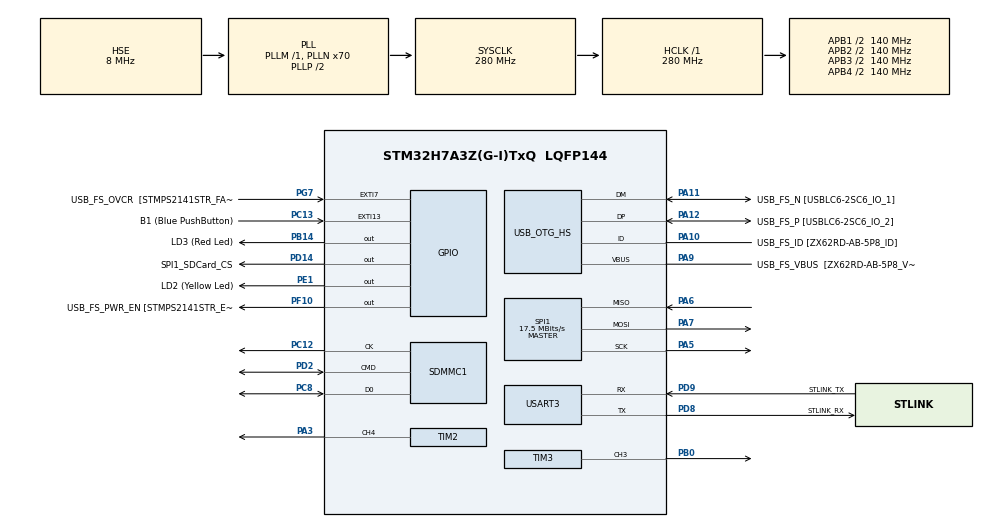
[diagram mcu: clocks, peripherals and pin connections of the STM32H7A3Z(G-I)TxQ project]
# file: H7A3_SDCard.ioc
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Dma.DMA_GENERATOR0.0.Direction=DMA_PERIPH_TO_MEMORY
Dma.DMA_GENERATOR0.0.EventEnable=DISABLE
Dma.DMA_GENERATOR0.0.FIFOMode=DMA_FIFOMODE_ENABLE
Dma.DMA_GENERATOR0.0.FIFOThreshold=DMA_FIFO_THRESHOLD_FULL
Dma.DMA_GENERATOR0.0.Instance=DMA1_Stream0
Dma.DMA_GENERATOR0.0.MemBurst=DMA_MBURST_SINGLE
Dma.DMA_GENERATOR0.0.MemDataAlignment=DMA_MDATAALIGN_BYTE
Dma.DMA_GENERATOR0.0.MemInc=DMA_MINC_ENABLE
Dma.DMA_GENERATOR0.0.Mode=DMA_NORMAL
Dma.DMA_GENERATOR0.0.PeriphBurst=DMA_PBURST_SINGLE
Dma.DMA_GENERATOR0.0.PeriphDataAlignment=DMA_PDATAALIGN_BYTE
Dma.DMA_GENERATOR0.0.PeriphInc=DMA_PINC_ENABLE
Dma.DMA_GENERATOR0.0.Polarity=HAL_DMAMUX_REQ_GEN_RISING
Dma.DMA_GENERATOR0.0.Priority=DMA_PRIORITY_LOW
Dma.DMA_GENERATOR0.0.RequestNumber=1
Dma.DMA_GENERATOR0.0.SignalID=NONE
Dma.DMA_GENERATOR0.0.SyncEnable=DISABLE
Dma.DMA_GENERATOR0.0.SyncPolarity=HAL_DMAMUX_SYNC_NO_EVENT
Dma.DMA_GENERATOR0.0.SyncRequestNumber=1
Dma.DMA_GENERATOR0.0.SyncSignalID=NONE
Dma.Request0=DMA_GENERATOR0
Dma.Request1=USART3_RX
Dma.Request2=USART3_TX
Dma.USART3_RX.1.Direction=DMA_PERIPH_TO_MEMORY
Dma.USART3_RX.1.EventEnable=DISABLE
Dma.USART3_RX.1.FIFOMode=DMA_FIFOMODE_DISABLE
Dma.USART3_RX.1.Instance=DMA1_Stream1
Dma.USART3_RX.1.MemDataAlignment=DMA_MDATAALIGN_BYTE
Dma.USART3_RX.1.MemInc=DMA_MINC_ENABLE
Dma.USART3_RX.1.Mode=DMA_NORMAL
Dma.USART3_RX.1.PeriphDataAlignment=DMA_PDATAALIGN_BYTE
Dma.USART3_RX.1.PeriphInc=DMA_PINC_DISABLE
Dma.USART3_RX.1.Polarity=HAL_DMAMUX_REQ_GEN_RISING
Dma.USART3_RX.1.Priority=DMA_PRIORITY_LOW
Dma.USART3_RX.1.RequestNumber=1
Dma.USART3_RX.1.SignalID=NONE
Dma.USART3_RX.1.SyncEnable=DISABLE
Dma.USART3_RX.1.SyncPolarity=HAL_DMAMUX_SYNC_NO_EVENT
Dma.USART3_RX.1.SyncRequestNumber=1
Dma.USART3_RX.1.SyncSignalID=NONE
Dma.USART3_TX.2.Direction=DMA_MEMORY_TO_PERIPH
Dma.USART3_TX.2.EventEnable=DISABLE
Dma.USART3_TX.2.FIFOMode=DMA_FIFOMODE_DISABLE
Dma.USART3_TX.2.Instance=DMA1_Stream2
Dma.USART3_TX.2.MemDataAlignment=DMA_MDATAALIGN_BYTE
Dma.USART3_TX.2.MemInc=DMA_MINC_ENABLE
Dma.USART3_TX.2.Mode=DMA_NORMAL
Dma.USART3_TX.2.PeriphDataAlignment=DMA_PDATAALIGN_BYTE
Dma.USART3_TX.2.PeriphInc=DMA_PINC_DISABLE
Dma.USART3_TX.2.Polarity=HAL_DMAMUX_REQ_GEN_RISING
Dma.USART3_TX.2.Priority=DMA_PRIORITY_LOW
Dma.USART3_TX.2.RequestNumber=1
Dma.USART3_TX.2.SignalID=NONE
Dma.USART3_TX.2.SyncEnable=DISABLE
Dma.USART3_TX.2.SyncPolarity=HAL_DMAMUX_SYNC_NO_EVENT
Dma.USART3_TX.2.SyncRequestNumber=1
Dma.USART3_TX.2.SyncSignalID=NONE
FATFS._MAX_SS=4096
FATFS._USE_LFN=1
Mcu.Family=STM32H7
Mcu.Name=STM32H7A3Z(G-I)TxQ
Mcu.Package=LQFP144
NVIC.DMA1_Stream1_IRQn=true\:0\:0\:false\:false\:true\:false\:true\:true
NVIC.DMA1_Stream2_IRQn=true\:0\:0\:false\:false\:true\:false\:true\:true
NVIC.EXTI15_10_IRQn=true\:0\:0\:false\:false\:true\:true\:true\:true
NVIC.PriorityGroup=NVIC_PRIORITYGROUP_4
PA10.GPIO_Label=USB_FS_ID [ZX62RD-AB-5P8_ID]
PA10.Mode=OTG/Dual-Role-Device-FS
PA10.Signal=USB_OTG_HS_ID
PA11.GPIO_Label=USB_FS_N [USBLC6-2SC6_IO_1]
PA11.Mode=OTG/Dual-Role-Device-FS
PA11.Signal=USB_OTG_HS_DM
PA12.GPIO_Label=USB_FS_P [USBLC6-2SC6_IO_2]
PA12.Mode=OTG/Dual-Role-Device-FS
PA12.Signal=USB_OTG_HS_DP
PA3.GPIO_Speed=GPIO_SPEED_FREQ_VERY_HIGH
PA3.Signal=S_TIM2_CH4
PA5.Mode=Full_Duplex_Master
PA5.Signal=SPI1_SCK
PA6.Mode=Full_Duplex_Master
PA6.Signal=SPI1_MISO
PA7.Mode=Full_Duplex_Master
PA7.Signal=SPI1_MOSI
PA9.GPIO_Label=USB_FS_VBUS  [ZX62RD-AB-5P8_VBUS]
PA9.Mode=Activate_VBUS_FS
PA9.Signal=USB_OTG_HS_VBUS
PB0.Signal=S_TIM3_CH3
PB14.GPIO_Label=LD3 (Red Led)
PB14.Signal=GPIO_Output
PC12.Mode=mmc_1_bit
PC12.Signal=SDMMC1_CK
PC13.GPIO_Label=B1 (Blue PushButton)
PC13.Signal=GPXTI13
PC14-OSC32_IN.GPIO_Label=OSC32_IN
PC14-OSC32_IN.Mode=LSE-External-Oscillator
PC14-OSC32_IN.Signal=RCC_OSC32_IN
PC15-OSC32_OUT.GPIO_Label=OSC32_OUT
PC15-OSC32_OUT.Mode=LSE-External-Oscillator
PC15-OSC32_OUT.Signal=RCC_OSC32_OUT
PC8.Mode=mmc_1_bit
PC8.Signal=SDMMC1_D0
PD14.GPIO_Label=SPI1_SDCard_CS
PD14.PinState=GPIO_PIN_SET
PD14.Signal=GPIO_Output
PD2.Mode=mmc_1_bit
PD2.Signal=SDMMC1_CMD
PD8.GPIO_Label=STLINK_RX
PD8.Mode=Asynchronous
PD8.Signal=USART3_TX
PD9.GPIO_Label=STLINK_TX
PD9.Mode=Asynchronous
PD9.Signal=USART3_RX
PE1.GPIO_Label=LD2 (Yellow Led)
PE1.Signal=GPIO_Output
PF10.GPIO_Label=USB_FS_PWR_EN [STMPS2141STR_EN]
PF10.Signal=GPIO_Output
PG7.GPIO_Label=USB_FS_OVCR  [STMPS2141STR_FAULT]
PG7.Signal=GPXTI7
PH0-OSC_IN.GPIO_Label=PH0-MCU
PH0-OSC_IN.Mode=HSE-External-Oscillator
PH0-OSC_IN.Signal=RCC_OSC_IN
PH1-OSC_OUT.GPIO_Label=PH1-MCU
PH1-OSC_OUT.Mode=HSE-External-Oscillator
PH1-OSC_OUT.Signal=RCC_OSC_OUT
ProjectManager.HeapSize=0x400
ProjectManager.StackSize=0x800
ProjectManager.TargetToolchain=STM32CubeIDE
RCC.ADCFreq_Value=16125000
RCC.APB1Freq_Value=140000000
RCC.APB2Freq_Value=140000000
RCC.APB3Freq_Value=140000000
RCC.APB4Freq_Value=140000000
RCC.CDPPRE=RCC_APB3_DIV2
RCC.CDPPRE1=RCC_APB1_DIV2
RCC.CDPPRE2=RCC_APB2_DIV2
RCC.CortexFreq_Value=280000000
RCC.DIVM1=1
RCC.DIVM3=1
RCC.DIVN1=70
RCC.DIVN3=24
RCC.HCLKFreq_Value=280000000
RCC.HSE_VALUE=8000000
RCC.PLLFRACN=0
RCC.PLLSourceVirtual=RCC_PLLSOURCE_HSE
RCC.PWR_Regulator_Voltage_Scale=PWR_REGULATOR_VOLTAGE_SCALE0
RCC.SRDPPRE=RCC_APB4_DIV2
RCC.SYSCLKFreq_VALUE=280000000
RCC.SYSCLKSource=RCC_SYSCLKSOURCE_PLLCLK
RCC.SupplySource=PWR_DIRECT_SMPS_SUPPLY
RCC.USBCLockSelection=RCC_USBCLKSOURCE_HSI48
RCC.USBFreq_Value=48000000
SH.S_TIM2_CH4.0=TIM2_CH4,PWM Generation4 CH4
SH.S_TIM3_CH3.0=TIM3_CH3,PWM Generation3 CH3
SPI1.BaudRatePrescaler=SPI_BAUDRATEPRESCALER_16
SPI1.CalculateBaudRate=17.5 MBits/s
SPI1.DataSize=SPI_DATASIZE_8BIT
SPI1.Direction=SPI_DIRECTION_2LINES
SPI1.Mode=SPI_MODE_MASTER
SPI1.VirtualType=VM_MASTER
TIM2.Channel-PWM\ Generation4\ CH4=TIM_CHANNEL_4
TIM2.OCFastMode_PWM-PWM\ Generation4\ CH4=TIM_OCFAST_ENABLE
TIM2.Period=4
TIM2.Prescaler=4
TIM2.Pulse-PWM\ Generation4\ CH4=2
TIM3.Channel-PWM\ Generation3\ CH3=TIM_CHANNEL_3
TIM3.Period=9999
TIM3.Prescaler=9999
USART3.VirtualMode-Asynchronous=VM_ASYNC
VP_FATFS_VS_Generic.Mode=User_defined
VP_TIM2_VS_ClockSourceINT.Mode=Internal
VP_TIM3_VS_ClockSourceINT.Mode=Internal
board=NUCLEO-H7A3ZI-Q

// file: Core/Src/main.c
/* USER CODE BEGIN Header */
/**
  ******************************************************************************
  * @file           : main.c
  * @brief          : Main program body
  ******************************************************************************
  * @attention
  *
  * Copyright (c) 2022 STMicroelectronics.
  * All rights reserved.
  *
  * This software is licensed under terms that can be found in the LICENSE file
  * in the root directory of this software component.
  * If no LICENSE file comes with this software, it is provided AS-IS.
  *
  ******************************************************************************
  */
/* USER CODE END Header */
#include "main.h"
#include "fatfs.h"

/* USER CODE BEGIN Includes */
#include <stdio.h>
#include "string.h"
#include "sdcard.h"
#include "fatfs_sd.h"
#include <stdarg.h>
/* USER CODE END Includes */

/* USER CODE BEGIN PD */
//#define SDMMC_EX1
//#define WWDG_EN
/* USER CODE END PD */

MMC_HandleTypeDef hmmc1;

SPI_HandleTypeDef hspi1;

TIM_HandleTypeDef htim2;
TIM_HandleTypeDef htim3;

UART_HandleTypeDef huart3;
DMA_HandleTypeDef hdma_usart3_rx;
DMA_HandleTypeDef hdma_usart3_tx;

DMA_HandleTypeDef hdma_dma_generator0;
/* USER CODE BEGIN PV */

uint16_t PWMOut1 = 1000;
uint16_t timerefresh_wwdg = 150;

uint32_t timestamp_one = 0;
uint32_t timestamp_wwdg = 0;
char txtUARTBF[100] = {0};
/* USER CODE END PV */

void SystemClock_Config(void);
static void MX_GPIO_Init(void);
static void MX_DMA_Init(void);
static void MX_USB_OTG_HS_USB_Init(void);
static void MX_USART3_UART_Init(void);
static void MX_SPI1_Init(void);
static void MX_TIM3_Init(void);
static void MX_TIM2_Init(void);
static void MX_SDMMC1_MMC_Init(void);
/* USER CODE BEGIN PFP */
void SDMMC_Ex1();
void SDCard_init_scr();
/* USER CODE END PFP */

/* USER CODE BEGIN 0 */

void UART_Printf(const char* fmt, ...) {
    char buff[256];
    va_list args;
    va_start(args, fmt);
    vsnprintf(buff, sizeof(buff), fmt, args);
    HAL_UART_Transmit(&huart3, (uint8_t*)buff, strlen(buff), HAL_MAX_DELAY);
    va_end(args);
}

void SDCard_init_scr() {
    int code;
    UART_Printf("Ready!\r\n");

    code = SDCARD_Init();
    if(code < 0) {
        UART_Printf("SDCARD_Init() failed: code = %d\r\n", code);
        return;
    }

    UART_Printf("SDCARD_Init() done!\r\n");

    uint32_t blocksNum;
    code = SDCARD_GetBlocksNumber(&blocksNum);
    if(code < 0) {
        UART_Printf("SDCARD_GetBlocksNumber() failed: code = %d\r\n", code);
        return;
    }

    UART_Printf("SDCARD_GetBlocksNumber() done! blocksNum = %u (or %u Mb)\r\n",
        blocksNum, blocksNum/2000 /* same as * 512 / 1000 / 1000 */);

    uint32_t startBlockAddr = 0x00AAAA;
    uint32_t blockAddr = startBlockAddr;
    uint8_t block[512];
//    for(int i = 0; i < 500; i++){
//    	block[i] = i % 256;
//    }
    block[0] = 0xAA; block[1] = 0xBB; block[2] = 0xCC; block[3] = 0xDD; block[4] = 0xEE;

    snprintf((char*)block, sizeof(block), "0x%08X", (int)blockAddr);

    code = SDCARD_WriteSingleBlock(blockAddr, &block[0]);
    if(code < 0) {
        UART_Printf("SDCARD_WriteSingleBlock() failed: code = %d\r\n", code);
        return;
    }
    UART_Printf("SDCARD_WriteSingleBlock(0x%08X, ...) done!\r\n", blockAddr);

    memset(block, 0, sizeof(block));

    code = SDCARD_ReadSingleBlock(blockAddr, block);
    if(code < 0) {
        UART_Printf("SDCARD_ReadSingleBlock() failed: code = %d\r\n", code);
        return;
    }

    UART_Printf("SDCARD_ReadSingleBlock(0x%08X, ...) done! block = \"%c%c%c%c%c%c%c%c%c%c...\"\r\n",
        blockAddr, block[0], block[1], block[2], block[3], block[4], block[5], block[6], block[7], block[8], block[9]);
    UART_Printf("SDCARD_ReadSingleBlock(0x%08X, ...) done! block = \"%x %x %x &x %x...\"\r\n",
            blockAddr, block[0], block[1], block[2], block[3], block[10]);

    ////-------------------------------------------------------------

//    blockAddr = startBlockAddr + 1;
//    code = SDCARD_WriteBegin(blockAddr);
//    if(code < 0) {
//        UART_Printf("SDCARD_WriteBegin() failed: code = %d\r\n", code);
//        return;
//    }
//    UART_Printf("SDCARD_WriteBegin(0x%08X, ...) done!\r\n", blockAddr);
//
//    for(int i = 0; i < 3; i++) {
//        snprintf((char*)block, sizeof(block), "0x%08X", (int)blockAddr);
//
//        code = SDCARD_WriteData(block);
//        if(code < 0) {
//            UART_Printf("SDCARD_WriteData() failed: code = %d\r\n", code);
//            return;
//        }
//
//        UART_Printf("SDCARD_WriteData() done! blockAddr = %08X\r\n", blockAddr);
//        blockAddr++;
//    }
//
//    code = SDCARD_WriteEnd();
//    if(code < 0) {
//        UART_Printf("SDCARD_WriteEnd() failed: code = %d\r\n", code);
//        return;
//    }
//    UART_Printf("SDCARD_WriteEnd() done!\r\n");
//
//    blockAddr = startBlockAddr + 1;
//    code = SDCARD_ReadBegin(blockAddr);
//    if(code < 0) {
//        UART_Printf("SDCARD_ReadBegin() failed: code = %d\r\n", code);
//        return;
//    }
//    UART_Printf("SDCARD_ReadBegin(0x%08X, ...) done!\r\n", blockAddr);
//
//    for(int i = 0; i < 6; i++) {
//        code = SDCARD_ReadData(block);
//        if(code < 0) {
//            UART_Printf("SDCARD_ReadData() failed: code = %d\r\n", code);
//            return;
//        }
//
//        UART_Printf("SDCARD_ReadData() done! block = \"%c%c%c%c%c%c%c%c%c%c...\"\r\n",
//            block[0], block[1], block[2], block[3], block[4], block[5], block[6], block[7], block[8], block[9]);
//    }
//
//    code = SDCARD_ReadEnd();
//    if(code < 0) {
//        UART_Printf("SDCARD_ReadEnd() failed: code = %d\r\n", code);
//        return;
//    }
//    UART_Printf("SDCARD_ReadEnd() done!\r\n");
}

/* USER CODE END 0 */

int main(void)
{
  /* USER CODE BEGIN 1 */
#ifdef SDMMC_EX1
	FRESULT res; /* FatFs function common result code */
	uint32_t byteswritten, bytesread; /* File write/read counts */
	uint8_t wtext[] = "STM32 FATFS works sooo greatist!"; /* File write buffer */
	uint8_t rtext[_MAX_SS];/* File read buffer */
#endif
  /* USER CODE END 1 */

  /* MCU Configuration--------------------------------------------------------*/

  /* Reset of all peripherals, Initializes the Flash interface and the Systick. */
  HAL_Init();

  /* Configure the system clock */
  SystemClock_Config();

  /* Initialize all configured peripherals */
  MX_GPIO_Init();
  MX_DMA_Init();
  MX_USB_OTG_HS_USB_Init();
  MX_USART3_UART_Init();
  MX_SPI1_Init();
  MX_TIM3_Init();
  MX_FATFS_Init();
  MX_TIM2_Init();
  MX_SDMMC1_MMC_Init();
  /* USER CODE BEGIN 2 */

  //SDMMC_Ex1();
  char temp[]="--------------------H7A3_SDCard----------------------"
		  "\r\n Welcome to UART Port 115200 8 bit/stop1 none parity\r\n";
  HAL_UART_Transmit(&huart3, (uint8_t*)temp, strlen(temp),30); // strlen = length of str -> config length of data

  //// PWM Test
  HAL_TIM_Base_Start(&htim3);
  HAL_TIM_PWM_Start(&htim3, TIM_CHANNEL_3);

  HAL_TIM_Base_Start(&htim2);
  HAL_TIM_PWM_Start(&htim2, TIM_CHANNEL_4);

  //SDCard_init();
  /* USER CODE END 2 */

  /* Infinite loop */
  /* USER CODE BEGIN WHILE */
  while (1)
  {
	  if(HAL_GetTick() - timestamp_one >= 1000){
		  timestamp_one = HAL_GetTick();
		  HAL_GPIO_TogglePin(LD2_GPIO_Port, LD2_Pin);

		  sprintf(txtUARTBF,"timestamp =  %d\r\n", (int)timestamp_one);
		  HAL_UART_Transmit(&huart3, (uint8_t*)txtUARTBF, strlen(txtUARTBF),10);

		  PWMOut1 = PWMOut1 + 10 % 5000;
		  __HAL_TIM_SET_COMPARE(&htim3, TIM_CHANNEL_3, PWMOut1); // dutycycle
	  }

	  //// WWDG togger
	  	  /*
	  	   * WWDG must be reset every 65 - 279 mSec
	  	   * APB Clk = 100 MHz / use APB Clk in ms
	  	   * Prescalar = 128
	  	   * reloadt = 63 (127 => disable T bit, 0b 0T11 1111 -> get 63)
	  	   * reloadw = 48 (112 => disable T bit, 0b 0T11 0000 -> get 48)
	  	   * timeout = (1/100000) * 4096 * Presclr * (reloadt+1) = 0.330 sec
	  	   * window  = (1/100000) * 4096 * Presclr * (reloadw+1) = 0.251 sec
	  	   * If reloads counter while counter greater than value in window register,a reset is generated.
	  	   *
	  	   * When WWDG_CR.T[6] changes from 1 -> 0 (0x40 -> 0x3F) => WWDG RESET CPU
	  	   *
	  	   * IWDG
	  	   * Prescalr = 64
	  	   * Reload = 4095
	  	   * (1/37KHz)* Prescalr * Reload = 7.08 sec
	  	   * */
#ifdef WWDG_EN
	  if(HAL_GetTick() - timestamp_wwdg >= timerefresh_wwdg){ // flag_dis_wwdg for test only && SRAM4->flag_dis_wwdg != 12
	  	  timestamp_wwdg = HAL_GetTick();
		  HAL_WWDG_Refresh(&hwwdg1);

		  //sprintf(txtUARTBF,"        wwdg tig\r\n");
		  //HAL_UART_Transmit(&huart3, (uint8_t*)txtUARTBF, strlen(txtUARTBF),10);
	  }
#endif

    /* USER CODE END WHILE */

  }
}

void SystemClock_Config(void)
{
  RCC_OscInitTypeDef RCC_OscInitStruct = {0};
  RCC_ClkInitTypeDef RCC_ClkInitStruct = {0};

  /*AXI clock gating */
  RCC->CKGAENR = 0xFFFFFFFF;

  /** Supply configuration update enable
  */
  HAL_PWREx_ConfigSupply(PWR_DIRECT_SMPS_SUPPLY);

  /** Configure the main internal regulator output voltage
  */
  __HAL_PWR_VOLTAGESCALING_CONFIG(PWR_REGULATOR_VOLTAGE_SCALE0);

  while(!__HAL_PWR_GET_FLAG(PWR_FLAG_VOSRDY)) {}

  /** Initializes the RCC Oscillators according to the specified parameters
  * in the RCC_OscInitTypeDef structure.
  */
  RCC_OscInitStruct.OscillatorType = RCC_OSCILLATORTYPE_HSI48|RCC_OSCILLATORTYPE_HSE;
  RCC_OscInitStruct.HSEState = RCC_HSE_ON;
  RCC_OscInitStruct.HSI48State = RCC_HSI48_ON;
  RCC_OscInitStruct.PLL.PLLState = RCC_PLL_ON;
  RCC_OscInitStruct.PLL.PLLSource = RCC_PLLSOURCE_HSE;
  RCC_OscInitStruct.PLL.PLLM = 1;
  RCC_OscInitStruct.PLL.PLLN = 70;
  RCC_OscInitStruct.PLL.PLLP = 2;
  RCC_OscInitStruct.PLL.PLLQ = 2;
  RCC_OscInitStruct.PLL.PLLR = 2;
  RCC_OscInitStruct.PLL.PLLRGE = RCC_PLL1VCIRANGE_3;
  RCC_OscInitStruct.PLL.PLLVCOSEL = RCC_PLL1VCOWIDE;
  RCC_OscInitStruct.PLL.PLLFRACN = 0;
  if (HAL_RCC_OscConfig(&RCC_OscInitStruct) != HAL_OK)
  {
    Error_Handler();
  }

  /** Initializes the CPU, AHB and APB buses clocks
  */
  RCC_ClkInitStruct.ClockType = RCC_CLOCKTYPE_HCLK|RCC_CLOCKTYPE_SYSCLK
                              |RCC_CLOCKTYPE_PCLK1|RCC_CLOCKTYPE_PCLK2
                              |RCC_CLOCKTYPE_D3PCLK1|RCC_CLOCKTYPE_D1PCLK1;
  RCC_ClkInitStruct.SYSCLKSource = RCC_SYSCLKSOURCE_PLLCLK;
  RCC_ClkInitStruct.SYSCLKDivider = RCC_SYSCLK_DIV1;
  RCC_ClkInitStruct.AHBCLKDivider = RCC_HCLK_DIV1;
  RCC_ClkInitStruct.APB3CLKDivider = RCC_APB3_DIV2;
  RCC_ClkInitStruct.APB1CLKDivider = RCC_APB1_DIV2;
  RCC_ClkInitStruct.APB2CLKDivider = RCC_APB2_DIV2;
  RCC_ClkInitStruct.APB4CLKDivider = RCC_APB4_DIV2;

  if (HAL_RCC_ClockConfig(&RCC_ClkInitStruct, FLASH_LATENCY_7) != HAL_OK)
  {
    Error_Handler();
  }
}

static void MX_SDMMC1_MMC_Init(void)
{

  hmmc1.Instance = SDMMC1;
  hmmc1.Init.ClockEdge = SDMMC_CLOCK_EDGE_RISING;
  hmmc1.Init.ClockPowerSave = SDMMC_CLOCK_POWER_SAVE_DISABLE;
  hmmc1.Init.BusWide = SDMMC_BUS_WIDE_1B;
  hmmc1.Init.HardwareFlowControl = SDMMC_HARDWARE_FLOW_CONTROL_DISABLE;
  hmmc1.Init.ClockDiv = 0;
  if (HAL_MMC_Init(&hmmc1) != HAL_OK)
  {
    Error_Handler();
  }

}

static void MX_SPI1_Init(void)
{

  /* SPI1 parameter configuration*/
  hspi1.Instance = SPI1;
  hspi1.Init.Mode = SPI_MODE_MASTER;
  hspi1.Init.Direction = SPI_DIRECTION_2LINES;
  hspi1.Init.DataSize = SPI_DATASIZE_8BIT;
  hspi1.Init.CLKPolarity = SPI_POLARITY_LOW;
  hspi1.Init.CLKPhase = SPI_PHASE_1EDGE;
  hspi1.Init.NSS = SPI_NSS_SOFT;
  hspi1.Init.BaudRatePrescaler = SPI_BAUDRATEPRESCALER_16;
  hspi1.Init.FirstBit = SPI_FIRSTBIT_MSB;
  hspi1.Init.TIMode = SPI_TIMODE_DISABLE;
  hspi1.Init.CRCCalculation = SPI_CRCCALCULATION_DISABLE;
  hspi1.Init.CRCPolynomial = 0x0;
  hspi1.Init.NSSPMode = SPI_NSS_PULSE_ENABLE;
  hspi1.Init.NSSPolarity = SPI_NSS_POLARITY_LOW;
  hspi1.Init.FifoThreshold = SPI_FIFO_THRESHOLD_01DATA;
  hspi1.Init.TxCRCInitializationPattern = SPI_CRC_INITIALIZATION_ALL_ZERO_PATTERN;
  hspi1.Init.RxCRCInitializationPattern = SPI_CRC_INITIALIZATION_ALL_ZERO_PATTERN;
  hspi1.Init.MasterSSIdleness = SPI_MASTER_SS_IDLENESS_00CYCLE;
  hspi1.Init.MasterInterDataIdleness = SPI_MASTER_INTERDATA_IDLENESS_00CYCLE;
  hspi1.Init.MasterReceiverAutoSusp = SPI_MASTER_RX_AUTOSUSP_DISABLE;
  hspi1.Init.MasterKeepIOState = SPI_MASTER_KEEP_IO_STATE_DISABLE;
  hspi1.Init.IOSwap = SPI_IO_SWAP_DISABLE;
  if (HAL_SPI_Init(&hspi1) != HAL_OK)
  {
    Error_Handler();
  }

}

static void MX_TIM2_Init(void)
{

  TIM_ClockConfigTypeDef sClockSourceConfig = {0};
  TIM_MasterConfigTypeDef sMasterConfig = {0};
  TIM_OC_InitTypeDef sConfigOC = {0};

  htim2.Instance = TIM2;
  htim2.Init.Prescaler = 4;
  htim2.Init.CounterMode = TIM_COUNTERMODE_UP;
  htim2.Init.Period = 4;
  htim2.Init.ClockDivision = TIM_CLOCKDIVISION_DIV1;
  htim2.Init.AutoReloadPreload = TIM_AUTORELOAD_PRELOAD_DISABLE;
  if (HAL_TIM_Base_Init(&htim2) != HAL_OK)
  {
    Error_Handler();
  }
  sClockSourceConfig.ClockSource = TIM_CLOCKSOURCE_INTERNAL;
  if (HAL_TIM_ConfigClockSource(&htim2, &sClockSourceConfig) != HAL_OK)
  {
    Error_Handler();
  }
  if (HAL_TIM_PWM_Init(&htim2) != HAL_OK)
  {
    Error_Handler();
  }
  sMasterConfig.MasterOutputTrigger = TIM_TRGO_RESET;
  sMasterConfig.MasterSlaveMode = TIM_MASTERSLAVEMODE_DISABLE;
  if (HAL_TIMEx_MasterConfigSynchronization(&htim2, &sMasterConfig) != HAL_OK)
  {
    Error_Handler();
  }
  sConfigOC.OCMode = TIM_OCMODE_PWM1;
  sConfigOC.Pulse = 2;
  sConfigOC.OCPolarity = TIM_OCPOLARITY_HIGH;
  sConfigOC.OCFastMode = TIM_OCFAST_ENABLE;
  if (HAL_TIM_PWM_ConfigChannel(&htim2, &sConfigOC, TIM_CHANNEL_4) != HAL_OK)
  {
    Error_Handler();
  }
  HAL_TIM_MspPostInit(&htim2);

}

static void MX_TIM3_Init(void)
{

  TIM_ClockConfigTypeDef sClockSourceConfig = {0};
  TIM_MasterConfigTypeDef sMasterConfig = {0};
  TIM_OC_InitTypeDef sConfigOC = {0};

  htim3.Instance = TIM3;
  htim3.Init.Prescaler = 9999;
  htim3.Init.CounterMode = TIM_COUNTERMODE_UP;
  htim3.Init.Period = 9999;
  htim3.Init.ClockDivision = TIM_CLOCKDIVISION_DIV1;
  htim3.Init.AutoReloadPreload = TIM_AUTORELOAD_PRELOAD_DISABLE;
  if (HAL_TIM_Base_Init(&htim3) != HAL_OK)
  {
    Error_Handler();
  }
  sClockSourceConfig.ClockSource = TIM_CLOCKSOURCE_INTERNAL;
  if (HAL_TIM_ConfigClockSource(&htim3, &sClockSourceConfig) != HAL_OK)
  {
    Error_Handler();
  }
  if (HAL_TIM_PWM_Init(&htim3) != HAL_OK)
  {
    Error_Handler();
  }
  sMasterConfig.MasterOutputTrigger = TIM_TRGO_RESET;
  sMasterConfig.MasterSlaveMode = TIM_MASTERSLAVEMODE_DISABLE;
  if (HAL_TIMEx_MasterConfigSynchronization(&htim3, &sMasterConfig) != HAL_OK)
  {
    Error_Handler();
  }
  sConfigOC.OCMode = TIM_OCMODE_PWM1;
  sConfigOC.Pulse = 0;
  sConfigOC.OCPolarity = TIM_OCPOLARITY_HIGH;
  sConfigOC.OCFastMode = TIM_OCFAST_DISABLE;
  if (HAL_TIM_PWM_ConfigChannel(&htim3, &sConfigOC, TIM_CHANNEL_3) != HAL_OK)
  {
    Error_Handler();
  }
  HAL_TIM_MspPostInit(&htim3);

}

static void MX_USART3_UART_Init(void)
{

  huart3.Instance = USART3;
  huart3.Init.BaudRate = 115200;
  huart3.Init.WordLength = UART_WORDLENGTH_8B;
  huart3.Init.StopBits = UART_STOPBITS_1;
  huart3.Init.Parity = UART_PARITY_NONE;
  huart3.Init.Mode = UART_MODE_TX_RX;
  huart3.Init.HwFlowCtl = UART_HWCONTROL_NONE;
  huart3.Init.OverSampling = UART_OVERSAMPLING_16;
  huart3.Init.OneBitSampling = UART_ONE_BIT_SAMPLE_DISABLE;
  huart3.Init.ClockPrescaler = UART_PRESCALER_DIV1;
  huart3.AdvancedInit.AdvFeatureInit = UART_ADVFEATURE_NO_INIT;
  if (HAL_UART_Init(&huart3) != HAL_OK)
  {
    Error_Handler();
  }
  if (HAL_UARTEx_SetTxFifoThreshold(&huart3, UART_TXFIFO_THRESHOLD_1_8) != HAL_OK)
  {
    Error_Handler();
  }
  if (HAL_UARTEx_SetRxFifoThreshold(&huart3, UART_RXFIFO_THRESHOLD_1_8) != HAL_OK)
  {
    Error_Handler();
  }
  if (HAL_UARTEx_DisableFifoMode(&huart3) != HAL_OK)
  {
    Error_Handler();
  }

}

static void MX_USB_OTG_HS_USB_Init(void)
{

}

static void MX_DMA_Init(void)
{

  /* DMA controller clock enable */
  __HAL_RCC_DMA1_CLK_ENABLE();

  /* Configure DMA request hdma_dma_generator0 on DMA1_Stream0 */
  hdma_dma_generator0.Instance = DMA1_Stream0;
  hdma_dma_generator0.Init.Request = DMA_REQUEST_GENERATOR0;
  hdma_dma_generator0.Init.Direction = DMA_PERIPH_TO_MEMORY;
  hdma_dma_generator0.Init.PeriphInc = DMA_PINC_ENABLE;
  hdma_dma_generator0.Init.MemInc = DMA_MINC_ENABLE;
  hdma_dma_generator0.Init.PeriphDataAlignment = DMA_PDATAALIGN_BYTE;
  hdma_dma_generator0.Init.MemDataAlignment = DMA_MDATAALIGN_BYTE;
  hdma_dma_generator0.Init.Mode = DMA_NORMAL;
  hdma_dma_generator0.Init.Priority = DMA_PRIORITY_LOW;
  hdma_dma_generator0.Init.FIFOMode = DMA_FIFOMODE_ENABLE;
  hdma_dma_generator0.Init.FIFOThreshold = DMA_FIFO_THRESHOLD_FULL;
  hdma_dma_generator0.Init.MemBurst = DMA_MBURST_SINGLE;
  hdma_dma_generator0.Init.PeriphBurst = DMA_PBURST_SINGLE;
  if (HAL_DMA_Init(&hdma_dma_generator0) != HAL_OK)
  {
    Error_Handler( );
  }

  /* DMA interrupt init */
  /* DMA1_Stream1_IRQn interrupt configuration */
  HAL_NVIC_SetPriority(DMA1_Stream1_IRQn, 0, 0);
  HAL_NVIC_EnableIRQ(DMA1_Stream1_IRQn);
  /* DMA1_Stream2_IRQn interrupt configuration */
  HAL_NVIC_SetPriority(DMA1_Stream2_IRQn, 0, 0);
  HAL_NVIC_EnableIRQ(DMA1_Stream2_IRQn);

}

static void MX_GPIO_Init(void)
{
  GPIO_InitTypeDef GPIO_InitStruct = {0};

  /* GPIO Ports Clock Enable */
  __HAL_RCC_GPIOC_CLK_ENABLE();
  __HAL_RCC_GPIOF_CLK_ENABLE();
  __HAL_RCC_GPIOH_CLK_ENABLE();
  __HAL_RCC_GPIOA_CLK_ENABLE();
  __HAL_RCC_GPIOB_CLK_ENABLE();
  __HAL_RCC_GPIOD_CLK_ENABLE();
  __HAL_RCC_GPIOG_CLK_ENABLE();
  __HAL_RCC_GPIOE_CLK_ENABLE();

  /*Configure GPIO pin Output Level */
  HAL_GPIO_WritePin(USB_FS_PWR_EN_GPIO_Port, USB_FS_PWR_EN_Pin, GPIO_PIN_RESET);

  /*Configure GPIO pin Output Level */
  HAL_GPIO_WritePin(LD3_GPIO_Port, LD3_Pin, GPIO_PIN_RESET);

  /*Configure GPIO pin Output Level */
  HAL_GPIO_WritePin(SPI1_SDCard_CS_GPIO_Port, SPI1_SDCard_CS_Pin, GPIO_PIN_SET);

  /*Configure GPIO pin Output Level */
  HAL_GPIO_WritePin(LD2_GPIO_Port, LD2_Pin, GPIO_PIN_RESET);

  /*Configure GPIO pin : B1_Pin */
  GPIO_InitStruct.Pin = B1_Pin;
  GPIO_InitStruct.Mode = GPIO_MODE_IT_RISING;
  GPIO_InitStruct.Pull = GPIO_NOPULL;
  HAL_GPIO_Init(B1_GPIO_Port, &GPIO_InitStruct);

  /*Configure GPIO pin : USB_FS_PWR_EN_Pin */
  GPIO_InitStruct.Pin = USB_FS_PWR_EN_Pin;
  GPIO_InitStruct.Mode = GPIO_MODE_OUTPUT_PP;
  GPIO_InitStruct.Pull = GPIO_NOPULL;
  GPIO_InitStruct.Speed = GPIO_SPEED_FREQ_LOW;
  HAL_GPIO_Init(USB_FS_PWR_EN_GPIO_Port, &GPIO_InitStruct);

  /*Configure GPIO pin : LD3_Pin */
  GPIO_InitStruct.Pin = LD3_Pin;
  GPIO_InitStruct.Mode = GPIO_MODE_OUTPUT_PP;
  GPIO_InitStruct.Pull = GPIO_NOPULL;
  GPIO_InitStruct.Speed = GPIO_SPEED_FREQ_LOW;
  HAL_GPIO_Init(LD3_GPIO_Port, &GPIO_InitStruct);

  /*Configure GPIO pin : SPI1_SDCard_CS_Pin */
  GPIO_InitStruct.Pin = SPI1_SDCard_CS_Pin;
  GPIO_InitStruct.Mode = GPIO_MODE_OUTPUT_PP;
  GPIO_InitStruct.Pull = GPIO_NOPULL;
  GPIO_InitStruct.Speed = GPIO_SPEED_FREQ_LOW;
  HAL_GPIO_Init(SPI1_SDCard_CS_GPIO_Port, &GPIO_InitStruct);

  /*Configure GPIO pin : USB_FS_OVCR_Pin */
  GPIO_InitStruct.Pin = USB_FS_OVCR_Pin;
  GPIO_InitStruct.Mode = GPIO_MODE_IT_RISING;
  GPIO_InitStruct.Pull = GPIO_NOPULL;
  HAL_GPIO_Init(USB_FS_OVCR_GPIO_Port, &GPIO_InitStruct);

  /*Configure GPIO pin : USB_FS_VBUS_Pin */
  GPIO_InitStruct.Pin = USB_FS_VBUS_Pin;
  GPIO_InitStruct.Mode = GPIO_MODE_INPUT;
  GPIO_InitStruct.Pull = GPIO_NOPULL;
  HAL_GPIO_Init(USB_FS_VBUS_GPIO_Port, &GPIO_InitStruct);

  /*Configure GPIO pin : USB_FS_ID_Pin */
  GPIO_InitStruct.Pin = USB_FS_ID_Pin;
  GPIO_InitStruct.Mode = GPIO_MODE_AF_PP;
  GPIO_InitStruct.Pull = GPIO_NOPULL;
  GPIO_InitStruct.Speed = GPIO_SPEED_FREQ_LOW;
  GPIO_InitStruct.Alternate = GPIO_AF10_OTG1_HS;
  HAL_GPIO_Init(USB_FS_ID_GPIO_Port, &GPIO_InitStruct);

  /*Configure GPIO pins : USB_FS_N_Pin USB_FS_P_Pin */
  GPIO_InitStruct.Pin = USB_FS_N_Pin|USB_FS_P_Pin;
  GPIO_InitStruct.Mode = GPIO_MODE_AF_PP;
  GPIO_InitStruct.Pull = GPIO_NOPULL;
  GPIO_InitStruct.Speed = GPIO_SPEED_FREQ_LOW;
  HAL_GPIO_Init(GPIOA, &GPIO_InitStruct);

  /*Configure GPIO pin : LD2_Pin */
  GPIO_InitStruct.Pin = LD2_Pin;
  GPIO_InitStruct.Mode = GPIO_MODE_OUTPUT_PP;
  GPIO_InitStruct.Pull = GPIO_NOPULL;
  GPIO_InitStruct.Speed = GPIO_SPEED_FREQ_LOW;
  HAL_GPIO_Init(LD2_GPIO_Port, &GPIO_InitStruct);

  /* EXTI interrupt init*/
  HAL_NVIC_SetPriority(EXTI15_10_IRQn, 0, 0);
  HAL_NVIC_EnableIRQ(EXTI15_10_IRQn);

}

/* USER CODE BEGIN 4 */
#ifdef SDMMC_EX1
void SDMMC_Ex1(){
	if(f_mount(&SDFatFS, (TCHAR const*)SDPath, 0) != FR_OK)
	    {
	        Error_Handler();
	    }
	    else
	    {
	        if(f_mkfs((TCHAR const*)SDPath, FM_ANY, 0, rtext, sizeof(rtext)) != FR_OK)
	        {
	            Error_Handler();
	        }
	        else
	        {
	            //Open file for writing (Create)
	            if(f_open(&SDFile, "STM32.TXT", FA_CREATE_ALWAYS | FA_WRITE) != FR_OK)
	            {
	                Error_Handler();
	            }
	            else
	            {
	                //Write to the text file
	             res = f_write(&SDFile, wtext, strlen((char *)wtext), (void *)&byteswritten);
	                if((byteswritten == 0) || (res != FR_OK))
	                {
	                    Error_Handler();
	                }
	                else
	                {
	                    f_close(&SDFile);
	                }
	            }
	        }
	    }
	    f_mount(&SDFatFS, (TCHAR const*)NULL, 0);
}
#endif

void HAL_GPIO_EXTI_Callback(uint16_t GPIO_Pin){
	if(GPIO_Pin == GPIO_PIN_13){
			//timerefresh_wwdg = 1000;
			SDCard_init_scr();
		}
}
/* USER CODE END 4 */

void Error_Handler(void)
{
  __disable_irq();
  while (1)
  {
  }
}
